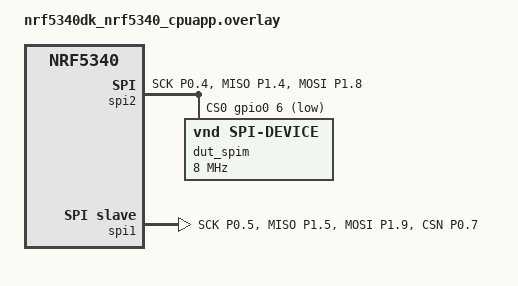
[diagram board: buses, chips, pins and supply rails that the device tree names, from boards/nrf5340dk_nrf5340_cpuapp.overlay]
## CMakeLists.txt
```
# SPDX-FileCopyrightText: Copyright 2026 Nordic Semiconductor ASA
# SPDX-License-Identifier: LicenseRef-Nordic-5-Clause

cmake_minimum_required(VERSION 3.28.0)
find_package(Zephyr REQUIRED HINTS $ENV{ZEPHYR_BASE})
project(spim_rtio_loopback)

target_sources(app PRIVATE src/main.c)
```

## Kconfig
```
# Copyright (c) 2026 Nordic Semiconductor ASA
# SPDX-License-Identifier: LicenseRef-Nordic-5-Clause

config TEST_SPI_MODE
	int "SPI mode"
	range 0 3
	default 0
	help
	  SPI mode (clock polarity and phase) used by both the SPIM and the SPIS.
	  0: CPOL 0, CPHA 0
	  1: CPOL 0, CPHA 1
	  2: CPOL 1, CPHA 0
	  3: CPOL 1, CPHA 1

source "Kconfig.zephyr"
```

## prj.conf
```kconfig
# SPDX-FileCopyrightText: Copyright 2026 Nordic Semiconductor ASA
# SPDX-License-Identifier: LicenseRef-Nordic-5-Clause

CONFIG_ZTEST=y
CONFIG_SPI=y
CONFIG_SPI_SLAVE=y
CONFIG_SPI_ASYNC=y
CONFIG_RTIO=y
CONFIG_SPI_RTIO=y
CONFIG_TEST_RANDOM_GENERATOR=y
```

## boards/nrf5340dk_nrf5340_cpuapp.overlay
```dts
/*
 * SPDX-FileCopyrightText: Copyright 2026 Nordic Semiconductor ASA
 *
 * SPDX-License-Identifier: LicenseRef-Nordic-5-Clause
 */

/*
 * SPIM (spi2) <-> SPIS (spi1) loopback, required connections:
 *
 * SCK  = P0.04 <-> P0.05
 * MISO = P1.04 <-> P1.05
 * MOSI = P1.08 <-> P1.09
 * CSN  = P0.06 <-> P0.07
 */

&pinctrl {
	spi2_default_alt: spi2_default_alt {
		group1 {
			psels = <NRF_PSEL(SPIM_SCK, 0, 4)>,
				<NRF_PSEL(SPIM_MISO, 1, 4)>,
				<NRF_PSEL(SPIM_MOSI, 1, 8)>;
		};
	};

	spi2_sleep_alt: spi2_sleep_alt {
		group1 {
			psels = <NRF_PSEL(SPIM_SCK, 0, 4)>,
				<NRF_PSEL(SPIM_MISO, 1, 4)>,
				<NRF_PSEL(SPIM_MOSI, 1, 8)>;
			low-power-enable;
		};
	};

	spi1_default_alt: spi1_default_alt {
		group1 {
			psels = <NRF_PSEL(SPIS_SCK, 0, 5)>,
				<NRF_PSEL(SPIS_MISO, 1, 5)>,
				<NRF_PSEL(SPIS_MOSI, 1, 9)>,
				<NRF_PSEL(SPIS_CSN, 0, 7)>;
		};
	};

	spi1_sleep_alt: spi1_sleep_alt {
		group1 {
			psels = <NRF_PSEL(SPIS_SCK, 0, 5)>,
				<NRF_PSEL(SPIS_MISO, 1, 5)>,
				<NRF_PSEL(SPIS_MOSI, 1, 9)>,
				<NRF_PSEL(SPIS_CSN, 0, 7)>;
			low-power-enable;
		};
	};
};

&gpio0 {
	status = "okay";
};

&spi2 {
	compatible = "nordic,nrf-spim";
	status = "okay";
	pinctrl-0 = <&spi2_default_alt>;
	pinctrl-1 = <&spi2_sleep_alt>;
	pinctrl-names = "default", "sleep";
	overrun-character = <0x00>;
	cs-gpios = <&gpio0 6 GPIO_ACTIVE_LOW>;

	dut_spim: spi-device@0 {
		compatible = "vnd,spi-device";
		reg = <0>;
		spi-max-frequency = <DT_FREQ_M(8)>;
	};
};

&spi1 {
	compatible = "nordic,nrf-spis";
	status = "okay";
	def-char = <0x00>;
	pinctrl-0 = <&spi1_default_alt>;
	pinctrl-1 = <&spi1_sleep_alt>;
	pinctrl-names = "default", "sleep";

	dut_spis: spi-device@0 {
		compatible = "vnd,spi-device";
		reg = <0>;
		spi-max-frequency = <DT_FREQ_M(8)>;
	};
};
```

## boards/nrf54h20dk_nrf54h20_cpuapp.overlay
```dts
/*
 * SPDX-FileCopyrightText: Copyright 2026 Nordic Semiconductor ASA
 *
 * SPDX-License-Identifier: LicenseRef-Nordic-5-Clause
 */

/*
 * SPIM (spi130) <-> SPIS (spi131) loopback, required connections:
 *
 * SCK  = P0.00 <-> P0.01
 * MISO = P0.06 <-> P0.07
 * MOSI = P0.08 <-> P0.09
 * CSN  = P0.10 <-> P0.11
 */

&pinctrl {
	spi130_default_alt: spi130_default_alt {
		group1 {
			psels = <NRF_PSEL(SPIM_SCK, 0, 0)>,
				<NRF_PSEL(SPIM_MISO, 0, 6)>,
				<NRF_PSEL(SPIM_MOSI, 0, 8)>;
		};
	};

	spi130_sleep_alt: spi130_sleep_alt {
		group1 {
			psels = <NRF_PSEL(SPIM_SCK, 0, 0)>,
				<NRF_PSEL(SPIM_MISO, 0, 6)>,
				<NRF_PSEL(SPIM_MOSI, 0, 8)>;
			low-power-enable;
		};
	};

	spis131_default_alt: spis131_default_alt {
		group1 {
			psels = <NRF_PSEL(SPIS_SCK, 0, 1)>,
				<NRF_PSEL(SPIS_MISO, 0, 7)>,
				<NRF_PSEL(SPIS_MOSI, 0, 9)>,
				<NRF_PSEL(SPIS_CSN, 0, 11)>;
		};
	};

	spis131_sleep_alt: spis131_sleep_alt {
		group1 {
			psels = <NRF_PSEL(SPIS_SCK, 0, 1)>,
				<NRF_PSEL(SPIS_MISO, 0, 7)>,
				<NRF_PSEL(SPIS_MOSI, 0, 9)>,
				<NRF_PSEL(SPIS_CSN, 0, 11)>;
			low-power-enable;
		};
	};
};

&gpio0 {
	status = "okay";
};

&spi130 {
	compatible = "nordic,nrf-spim";
	status = "okay";
	pinctrl-0 = <&spi130_default_alt>;
	pinctrl-1 = <&spi130_sleep_alt>;
	pinctrl-names = "default", "sleep";
	overrun-character = <0x00>;
	cs-gpios = <&gpio0 10 GPIO_ACTIVE_LOW>;
	memory-regions = <&cpuapp_dma_region>;

	dut_spim: spi-device@0 {
		compatible = "vnd,spi-device";
		reg = <0>;
		spi-max-frequency = <DT_FREQ_M(8)>;
	};
};

&spi131 {
	compatible = "nordic,nrf-spis";
	status = "okay";
	def-char = <0x00>;
	pinctrl-0 = <&spis131_default_alt>;
	pinctrl-1 = <&spis131_sleep_alt>;
	pinctrl-names = "default", "sleep";
	/delete-property/ rx-delay-supported;
	/delete-property/ rx-delay;
	memory-regions = <&cpuapp_dma_region>;

	dut_spis: spi-device@0 {
		compatible = "vnd,spi-device";
		reg = <0>;
		spi-max-frequency = <DT_FREQ_M(8)>;
	};
};
```

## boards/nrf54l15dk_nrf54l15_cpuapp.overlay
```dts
/*
 * SPDX-FileCopyrightText: Copyright 2026 Nordic Semiconductor ASA
 *
 * SPDX-License-Identifier: LicenseRef-Nordic-5-Clause
 */

/*
 * SPIM (spi22) <-> SPIS (spi21) loopback, required connections:
 *
 * SCK  = P1.13 <-> P1.12
 * MISO = P1.11 <-> P1.10
 * MOSI = P1.09 <-> P1.08
 * CSN  = P2.10 <-> P1.14
 */

&pinctrl {
	spi22_default: spi22_default {
		group1 {
			psels = <NRF_PSEL(SPIM_SCK, 1, 13)>,
				<NRF_PSEL(SPIM_MISO, 1, 11)>,
				<NRF_PSEL(SPIM_MOSI, 1, 9)>;
		};
	};

	spi22_sleep: spi22_sleep {
		group1 {
			psels = <NRF_PSEL(SPIM_SCK, 1, 13)>,
				<NRF_PSEL(SPIM_MISO, 1, 11)>,
				<NRF_PSEL(SPIM_MOSI, 1, 9)>;
			low-power-enable;
		};
	};

	spi21_default: spi21_default {
		group1 {
			psels = <NRF_PSEL(SPIS_SCK, 1, 12)>,
				<NRF_PSEL(SPIS_MISO, 1, 10)>,
				<NRF_PSEL(SPIS_MOSI, 1, 8)>,
				<NRF_PSEL(SPIS_CSN, 1, 14)>;
		};
	};

	spi21_sleep: spi21_sleep {
		group1 {
			psels = <NRF_PSEL(SPIS_SCK, 1, 12)>,
				<NRF_PSEL(SPIS_MISO, 1, 10)>,
				<NRF_PSEL(SPIS_MOSI, 1, 8)>,
				<NRF_PSEL(SPIS_CSN, 1, 14)>;
			low-power-enable;
		};
	};
};

&gpio2 {
	status = "okay";
};

&spi22 {
	compatible = "nordic,nrf-spim";
	status = "okay";
	pinctrl-0 = <&spi22_default>;
	pinctrl-1 = <&spi22_sleep>;
	pinctrl-names = "default", "sleep";
	overrun-character = <0x00>;
	cs-gpios = <&gpio2 10 GPIO_ACTIVE_LOW>;

	dut_spim: spi-device@0 {
		compatible = "vnd,spi-device";
		reg = <0>;
		spi-max-frequency = <DT_FREQ_M(8)>;
	};
};

&spi21 {
	compatible = "nordic,nrf-spis";
	status = "okay";
	def-char = <0x00>;
	pinctrl-0 = <&spi21_default>;
	pinctrl-1 = <&spi21_sleep>;
	pinctrl-names = "default", "sleep";
	/delete-property/ rx-delay-supported;
	/delete-property/ rx-delay;

	dut_spis: spi-device@0 {
		compatible = "vnd,spi-device";
		reg = <0>;
		spi-max-frequency = <DT_FREQ_M(8)>;
	};
};
```

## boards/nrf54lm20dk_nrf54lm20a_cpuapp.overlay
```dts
/*
 * SPDX-FileCopyrightText: Copyright 2026 Nordic Semiconductor ASA
 *
 * SPDX-License-Identifier: LicenseRef-Nordic-5-Clause
 */

/*
 * SPIM (spi22) <-> SPIS (spi21) loopback, required connections:
 *
 * SCK  = P1.23 <-> P1.24
 * MISO = P1.30 <-> P1.31
 * MOSI = P1.13 <-> P1.14
 * CSN  = P1.03 <-> P1.04
 */

&pinctrl {
	spi22_default_alt: spi22_default_alt {
		group1 {
			psels = <NRF_PSEL(SPIM_SCK, 1, 23)>,
				<NRF_PSEL(SPIM_MISO, 1, 30)>,
				<NRF_PSEL(SPIM_MOSI, 1, 13)>;
		};
	};

	spi22_sleep_alt: spi22_sleep_alt {
		group1 {
			psels = <NRF_PSEL(SPIM_SCK, 1, 23)>,
				<NRF_PSEL(SPIM_MISO, 1, 30)>,
				<NRF_PSEL(SPIM_MOSI, 1, 13)>;
			low-power-enable;
		};
	};

	spi21_default_alt: spi21_default_alt {
		group1 {
			psels = <NRF_PSEL(SPIS_SCK, 1, 24)>,
				<NRF_PSEL(SPIS_MISO, 1, 31)>,
				<NRF_PSEL(SPIS_MOSI, 1, 14)>,
				<NRF_PSEL(SPIS_CSN, 1, 4)>;
		};
	};

	spi21_sleep_alt: spi21_sleep_alt {
		group1 {
			psels = <NRF_PSEL(SPIS_SCK, 1, 24)>,
				<NRF_PSEL(SPIS_MISO, 1, 31)>,
				<NRF_PSEL(SPIS_MOSI, 1, 14)>,
				<NRF_PSEL(SPIS_CSN, 1, 4)>;
			low-power-enable;
		};
	};
};

&gpio1 {
	status = "okay";
};

&spi22 {
	compatible = "nordic,nrf-spim";
	status = "okay";
	pinctrl-0 = <&spi22_default_alt>;
	pinctrl-1 = <&spi22_sleep_alt>;
	pinctrl-names = "default", "sleep";
	overrun-character = <0x00>;
	cs-gpios = <&gpio1 3 GPIO_ACTIVE_LOW>;

	dut_spim: spi-device@0 {
		compatible = "vnd,spi-device";
		reg = <0>;
		spi-max-frequency = <DT_FREQ_M(8)>;
	};
};

&spi21 {
	compatible = "nordic,nrf-spis";
	status = "okay";
	def-char = <0x00>;
	pinctrl-0 = <&spi21_default_alt>;
	pinctrl-1 = <&spi21_sleep_alt>;
	pinctrl-names = "default", "sleep";
	/delete-property/ rx-delay-supported;
	/delete-property/ rx-delay;

	dut_spis: spi-device@0 {
		compatible = "vnd,spi-device";
		reg = <0>;
		spi-max-frequency = <DT_FREQ_M(8)>;
	};
};
```

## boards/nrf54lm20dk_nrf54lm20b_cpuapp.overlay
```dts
/*
 * SPDX-FileCopyrightText: Copyright 2026 Nordic Semiconductor ASA
 *
 * SPDX-License-Identifier: LicenseRef-Nordic-5-Clause
 */

#include "nrf54lm20dk_nrf54lm20a_cpuapp.overlay"
```

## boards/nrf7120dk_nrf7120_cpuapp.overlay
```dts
/*
 * SPDX-FileCopyrightText: Copyright 2026 Nordic Semiconductor ASA
 *
 * SPDX-License-Identifier: LicenseRef-Nordic-5-Clause
 */

/*
 * SPIM (spi22) <-> SPIS (spi21) loopback, required connections:
 *
 * SCK  = P1.07 <-> P1.12
 * MISO = P1.05 <-> P1.14
 * MOSI = P1.06 <-> P1.04
 * CSN  = P1.15 <-> P1.13
 */

&pinctrl {
	spi22_default_alt: spi22_default_alt {
		group1 {
			psels = <NRF_PSEL(SPIM_SCK, 1, 7)>,
				<NRF_PSEL(SPIM_MISO, 1, 5)>,
				<NRF_PSEL(SPIM_MOSI, 1, 6)>;
		};
	};

	spi22_sleep_alt: spi22_sleep_alt {
		group1 {
			psels = <NRF_PSEL(SPIM_SCK, 1, 7)>,
				<NRF_PSEL(SPIM_MISO, 1, 5)>,
				<NRF_PSEL(SPIM_MOSI, 1, 6)>;
			low-power-enable;
		};
	};

	spi21_default_alt: spi21_default_alt {
		group1 {
			psels = <NRF_PSEL(SPIS_SCK, 1, 12)>,
				<NRF_PSEL(SPIS_MISO, 1, 14)>,
				<NRF_PSEL(SPIS_MOSI, 1, 4)>,
				<NRF_PSEL(SPIS_CSN, 1, 13)>;
		};
	};

	spi21_sleep_alt: spi21_sleep_alt {
		group1 {
			psels = <NRF_PSEL(SPIS_SCK, 1, 12)>,
				<NRF_PSEL(SPIS_MISO, 1, 14)>,
				<NRF_PSEL(SPIS_MOSI, 1, 4)>,
				<NRF_PSEL(SPIS_CSN, 1, 13)>;
			low-power-enable;
		};
	};
};

&gpio1 {
	status = "okay";
};

&spi22 {
	compatible = "nordic,nrf-spim";
	status = "okay";
	pinctrl-0 = <&spi22_default_alt>;
	pinctrl-1 = <&spi22_sleep_alt>;
	pinctrl-names = "default", "sleep";
	overrun-character = <0x00>;
	cs-gpios = <&gpio1 15 GPIO_ACTIVE_LOW>;

	dut_spim: spi-device@0 {
		compatible = "vnd,spi-device";
		reg = <0>;
		spi-max-frequency = <DT_FREQ_M(8)>;
	};
};

&spi21 {
	compatible = "nordic,nrf-spis";
	status = "okay";
	def-char = <0x00>;
	pinctrl-0 = <&spi21_default_alt>;
	pinctrl-1 = <&spi21_sleep_alt>;
	pinctrl-names = "default", "sleep";
	/delete-property/ rx-delay-supported;
	/delete-property/ rx-delay;

	dut_spis: spi-device@0 {
		compatible = "vnd,spi-device";
		reg = <0>;
		spi-max-frequency = <DT_FREQ_M(8)>;
	};
};
```

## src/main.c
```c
/*
 * SPDX-FileCopyrightText: Copyright 2026 Nordic Semiconductor ASA
 *
 * SPDX-License-Identifier: LicenseRef-Nordic-5-Clause
 */

/*
 * SPIM, driven through the SPI RTIO API, is connected to a SPIS which is
 * driven through the standard (asynchronous) SPI API. Every transfer is a
 * single full-duplex transceive, verified on both sides: the data received
 * by each side must match the data transmitted by the other and TX buffers
 * must not be modified.
 */

#include <zephyr/kernel.h>
#include <zephyr/drivers/spi.h>
#include <zephyr/random/random.h>
#include <zephyr/rtio/rtio.h>
#include <zephyr/ztest.h>

#include <string.h>

#define SPIM_NODE DT_NODELABEL(dut_spim)
#define SPIS_NODE DT_NODELABEL(dut_spis)

#if !DT_NODE_EXISTS(SPIM_NODE)
#error "dut_spim node not defined"
#endif

#if !DT_NODE_EXISTS(SPIS_NODE)
#error "dut_spis node not defined"
#endif

#if CONFIG_TEST_SPI_MODE == 0
#define TEST_SPI_MODE (0)
#elif CONFIG_TEST_SPI_MODE == 1
#define TEST_SPI_MODE (SPI_MODE_CPHA)
#elif CONFIG_TEST_SPI_MODE == 2
#define TEST_SPI_MODE (SPI_MODE_CPOL)
#elif CONFIG_TEST_SPI_MODE == 3
#define TEST_SPI_MODE (SPI_MODE_CPOL | SPI_MODE_CPHA)
#endif

#define TEST_SPI_OP (SPI_WORD_SET(8) | SPI_TRANSFER_MSB | TEST_SPI_MODE)
#define SPIM_OP     (SPI_OP_MODE_CONTROLLER | TEST_SPI_OP)
#define SPIS_OP     (SPI_OP_MODE_PERIPHERAL | TEST_SPI_OP)

#define MAX_TEST_BUF_SIZE 2048
#define TEST_TIMEOUT      K_MSEC(500)

/*
 * The SPIS acquires its buffers asynchronously after being armed,
 * give it some time before the SPIM starts clocking.
 */
#define TEST_SPIS_ARM_DELAY K_MSEC(10)

/* One SQE per transfer, generating one CQE */
RTIO_DEFINE(spim_rtio, 1, 1);

SPI_DT_IODEV_DEFINE(spim_iodev, SPIM_NODE, SPIM_OP);

static const struct spi_dt_spec spis_spec = SPI_DT_SPEC_GET(SPIS_NODE, SPIS_OP);

static uint8_t spim_tx_buffer[MAX_TEST_BUF_SIZE];
static uint8_t spim_rx_buffer[MAX_TEST_BUF_SIZE];
static uint8_t spis_tx_buffer[MAX_TEST_BUF_SIZE];
static uint8_t spis_rx_buffer[MAX_TEST_BUF_SIZE];

/* Reference TX data, also the expected content of the RX buffer on the other side */
static uint8_t spim_tx_reference_pattern[MAX_TEST_BUF_SIZE];
static uint8_t spis_tx_reference_pattern[MAX_TEST_BUF_SIZE];

static K_SEM_DEFINE(spis_done, 0, 1);
static int spis_result;
static bool spis_armed;

static void fill_buffer(uint8_t *buf, size_t len)
{
	for (size_t i = 0; i < len; i++) {
		buf[i] = sys_rand8_get();
	}
}

static void prepare_buffers(size_t len)
{
	/* Prepare reference patterns (random) */
	fill_buffer(spim_tx_reference_pattern, len);
	fill_buffer(spis_tx_reference_pattern, len);

	/* Copy reference patterns to the TX buffers */
	memcpy(spim_tx_buffer, spim_tx_reference_pattern, len);
	memcpy(spis_tx_buffer, spis_tx_reference_pattern, len);

	memset(spim_rx_buffer, 0xFF, len);
	memset(spis_rx_buffer, 0xFF, len);
}

static void check_buffer(const char *buffer_name, const uint8_t *actual_buffer,
			 const uint8_t *expected_buffer, size_t len)
{
	zassert_mem_equal(actual_buffer, expected_buffer, len, "%s content mismatch", buffer_name);
}

static void validate_buffers(size_t len)
{
	check_buffer("spim_tx_buffer", spim_tx_buffer, spim_tx_reference_pattern, len);
	check_buffer("spis_tx_buffer", spis_tx_buffer, spis_tx_reference_pattern, len);
	check_buffer("spim_rx_buffer", spim_rx_buffer, spis_tx_reference_pattern, len);
	check_buffer("spis_rx_buffer", spis_rx_buffer, spim_tx_reference_pattern, len);
}

static void spis_callback(const struct device *dev, int result, void *data)
{
	ARG_UNUSED(dev);
	ARG_UNUSED(data);

	spis_result = result;
	k_sem_give(&spis_done);
}

static void setup_spis_transfer(size_t len)
{
	static struct spi_buf tx_buf = {.buf = spis_tx_buffer};
	static struct spi_buf rx_buf = {.buf = spis_rx_buffer};
	static const struct spi_buf_set tx_set = {.buffers = &tx_buf, .count = 1};
	static const struct spi_buf_set rx_set = {.buffers = &rx_buf, .count = 1};
	int ret;

	tx_buf.len = len;
	rx_buf.len = len;

	ret = spi_transceive_cb(spis_spec.bus, &spis_spec.config, &tx_set, &rx_set, spis_callback,
				NULL);
	zassert_ok(ret, "SPIS transceive failed (%d)", ret);
	spis_armed = true;

	k_sleep(TEST_SPIS_ARM_DELAY);

	zassert_equal(k_sem_take(&spis_done, K_NO_WAIT), -EBUSY,
		      "SPIS transfer completed before SPIM started");
}

/*
 * Wait for the SPIS transfer to complete,
 * returns the number of bytes received
 */
static int spis_wait_for_transfer_completion(void)
{
	zassert_ok(k_sem_take(&spis_done, TEST_TIMEOUT), "SPIS transfer timed out");
	spis_armed = false;

	return spis_result;
}

/*
 * Submit the prepared SQE
 * and wait for its completion
 */
static void spim_submit_and_check(void)
{
	struct rtio_cqe cqe;
	int ret;

	ret = rtio_submit(&spim_rtio, 0);
	zassert_ok(ret, "RTIO submit failed (%d)", ret);

	ret = rtio_cqe_copy_out(&spim_rtio, &cqe, 1, TEST_TIMEOUT);
	zassert_equal(ret, 1, "SPIM transfer timed out");
	zassert_ok(cqe.result, "SPIM transfer failed (%d)", cqe.result);
}

/*
 * SPIM writes and reads len bytes
 * in a single RTIO transceive
 */
static void spim_rtio_write_read(size_t len)
{
	struct rtio_sqe *sqe;
	int ret;

	if (len > MAX_TEST_BUF_SIZE) {
		TC_PRINT("Skipping %zu byte transfer, limit is %d bytes\n", len, MAX_TEST_BUF_SIZE);
		return;
	}

	prepare_buffers(len);
	setup_spis_transfer(len);

	sqe = rtio_sqe_acquire(&spim_rtio);
	zassert_not_null(sqe, "SQE pool exhausted");
	rtio_sqe_prep_transceive(sqe, &spim_iodev, RTIO_PRIO_NORM, spim_tx_buffer, spim_rx_buffer,
				 len, NULL);
	spim_submit_and_check();

	ret = spis_wait_for_transfer_completion();
	zassert_equal(ret, len, "SPIS received %d bytes, expected %zu", ret, len);
	validate_buffers(len);
}

ZTEST(spim_rtio_loopback, test_spim_rtio_write_read)
{
	spim_rtio_write_read(1);
	spim_rtio_write_read(16);
	spim_rtio_write_read(64);
	spim_rtio_write_read(256);
	spim_rtio_write_read(512);
	spim_rtio_write_read(1024);
}

static void before(void *fixture)
{
	ARG_UNUSED(fixture);

	k_sem_reset(&spis_done);
	spis_armed = false;
}

static void after(void *fixture)
{
	struct rtio_cqe cqe;
	struct rtio_sqe *sqe;

	ARG_UNUSED(fixture);

	rtio_sqe_drop_all(&spim_rtio);

	/* Complete a SPIS transfer (left pending by a failed test) */
	if (spis_armed) {
		sqe = rtio_sqe_acquire(&spim_rtio);
		if (sqe != NULL) {
			rtio_sqe_prep_transceive(sqe, &spim_iodev, RTIO_PRIO_NORM, spim_tx_buffer,
						 spim_rx_buffer, MAX_TEST_BUF_SIZE, NULL);
			(void)rtio_submit(&spim_rtio, 0);
		}
		(void)k_sem_take(&spis_done, TEST_TIMEOUT);
		spis_armed = false;
	}

	/* Drop any late completions */
	while (rtio_cqe_copy_out(&spim_rtio, &cqe, 1, K_MSEC(10)) > 0) {
	}
}

ZTEST_SUITE(spim_rtio_loopback, NULL, NULL, before, after, NULL);
```
